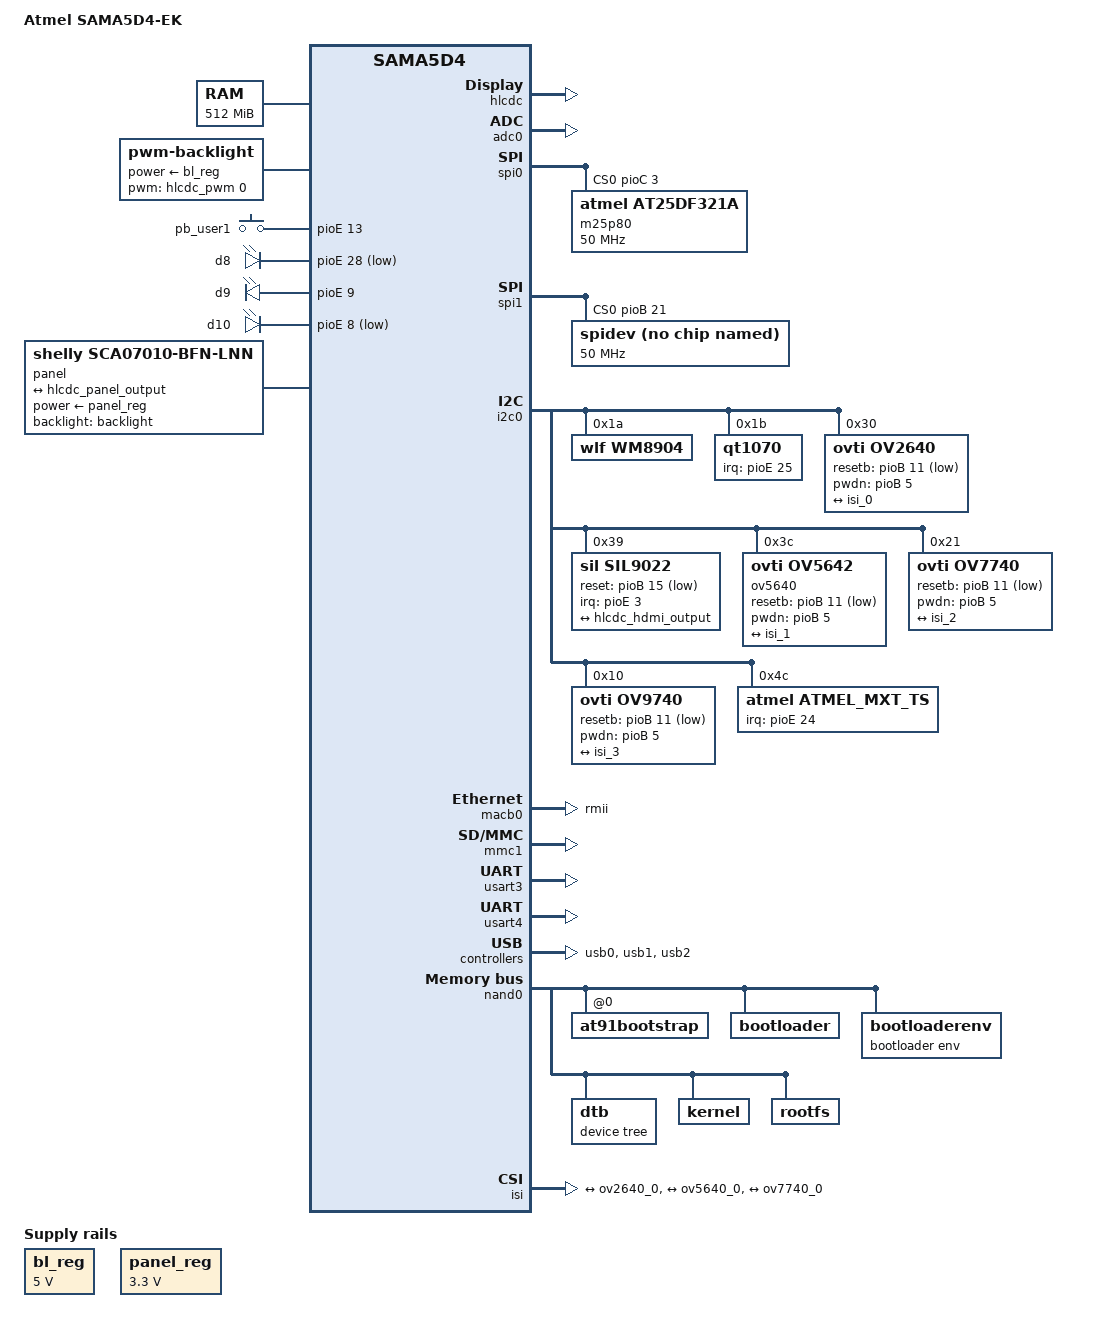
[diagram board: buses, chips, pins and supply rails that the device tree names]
/*
 * at91-sama5d4ek.dts - Device Tree file for SAMA5D4 Evaluation Kit
 *                      EK with PDA TM70xx 7" LCD + touchscreen display
 *
 *  Copyright (C) 2014 Atmel,
 *                2014 Nicolas Ferre <nicolas.ferre@atmel.com>
 *
 * This file is dual-licensed: you can use it either under the terms
 * of the GPL or the X11 license, at your option. Note that this dual
 * licensing only applies to this file, and not this project as a
 * whole.
 *
 *  a) This file is free software; you can redistribute it and/or
 *     modify it under the terms of the GNU General Public License as
 *     published by the Free Software Foundation; either version 2 of the
 *     License, or (at your option) any later version.
 *
 *     This file is distributed in the hope that it will be useful,
 *     but WITHOUT ANY WARRANTY; without even the implied warranty of
 *     MERCHANTABILITY or FITNESS FOR A PARTICULAR PURPOSE.  See the
 *     GNU General Public License for more details.
 *
 * Or, alternatively,
 *
 *  b) Permission is hereby granted, free of charge, to any person
 *     obtaining a copy of this software and associated documentation
 *     files (the "Software"), to deal in the Software without
 *     restriction, including without limitation the rights to use,
 *     copy, modify, merge, publish, distribute, sublicense, and/or
 *     sell copies of the Software, and to permit persons to whom the
 *     Software is furnished to do so, subject to the following
 *     conditions:
 *
 *     The above copyright notice and this permission notice shall be
 *     included in all copies or substantial portions of the Software.
 *
 *     THE SOFTWARE IS PROVIDED "AS IS", WITHOUT WARRANTY OF ANY KIND,
 *     EXPRESS OR IMPLIED, INCLUDING BUT NOT LIMITED TO THE WARRANTIES
 *     OF MERCHANTABILITY, FITNESS FOR A PARTICULAR PURPOSE AND
 *     NONINFRINGEMENT. IN NO EVENT SHALL THE AUTHORS OR COPYRIGHT
 *     HOLDERS BE LIABLE FOR ANY CLAIM, DAMAGES OR OTHER LIABILITY,
 *     WHETHER IN AN ACTION OF CONTRACT, TORT OR OTHERWISE, ARISING
 *     FROM, OUT OF OR IN CONNECTION WITH THE SOFTWARE OR THE USE OR
 *     OTHER DEALINGS IN THE SOFTWARE.
 */
/dts-v1/;
#include "sama5d4.dtsi"

/ {
	model = "Atmel SAMA5D4-EK";
	compatible = "atmel,sama5d4ek", "atmel,sama5d4", "atmel,sama5";

	chosen {
		bootargs = "console=ttyS0,115200 ignore_loglevel earlyprintk";
	};

	memory {
		reg = <0x20000000 0x20000000>;
	};

	clocks {
		#address-cells = <1>;
		#size-cells = <1>;
		ranges;

		main_clock: clock@0 {
			compatible = "atmel,osc", "fixed-clock";
			clock-frequency = <12000000>;
		};

		slow_xtal {
			clock-frequency = <32768>;
		};

		main_xtal {
			clock-frequency = <12000000>;
		};
	};

	ahb {
		apb {
			hlcdc: hlcdc@f0000000 {
				status = "okay";

				hlcdc-display-controller {
					pinctrl-names = "default";
					pinctrl-0 = <&pinctrl_lcd_base &pinctrl_lcd_rgb666>;

					port@0 {
						hlcdc_panel_output: endpoint@0 {
							reg = <0>;
							remote-endpoint = <&panel_input>;
						};

						hlcdc_hdmi_output: endpoint@1 {
							reg = <1>;
							remote-endpoint = <&hdmi_input>;
						};
					};
				};
			};

			adc0: adc@fc034000 {
				/* The vref depends on JP22 of EK. If connect 1-2 then use 3.3V. connect 2-3 use 3.0V */
				atmel,adc-vref = <3300>;
				/*atmel,adc-ts-wires = <4>;*/	/* Set up ADC touch screen */
				status = "okay";		/* Enable ADC IIO support */
			};

			mmc0: mmc@f8000000 {
				pinctrl-names = "default";
				pinctrl-0 = <&pinctrl_mmc0_clk_cmd_dat0 &pinctrl_mmc0_dat1_3 &pinctrl_mmc0_cd>;
				slot@1 {
					reg = <1>;
					bus-width = <4>;
					cd-gpios = <&pioE 5 0>;
				};
			};

			ssc0: ssc@f8008000 {
				status = "okay";
			};

			spi0: spi@f8010000 {
				cs-gpios = <&pioC 3 0>, <0>, <0>, <0>;
				status = "okay";
				m25p80@0 {
					compatible = "atmel,at25df321a";
					spi-max-frequency = <50000000>;
					reg = <0>;
				};
			};
            
			spi1: spi@fc018000 {
				cs-gpios = <&pioB 21 0>, <0>, <0>, <0>;
				status = "okay";
				spidev@0 {
					compatible = "linux,spidev";
					spi-max-frequency = <50000000>;
					reg = <0>;
				};
			};
			
			i2c0: i2c@f8014000 {
				status = "okay";

				wm8904: codec@1a {
					compatible = "wlf,wm8904";
					reg = <0x1a>;
					clocks = <&pck2>;
					clock-names = "mclk";
				};

				qt1070:keyboard@1b {
					compatible = "qt1070";
					reg = <0x1b>;
					interrupt-parent = <&pioE>;
					interrupts = <25 0x0>;
					pinctrl-names = "default";
					pinctrl-0 = <&pinctrl_qt1070_irq>;
					wakeup-source;
				};

				ov2640: camera@0x30 {
					compatible = "ovti,ov2640";
					reg = <0x30>;
					pinctrl-names = "default";
					pinctrl-0 = <&pinctrl_pck1_as_isi_mck &pinctrl_sensor_power &pinctrl_sensor_reset>;
					resetb-gpios = <&pioB 11 GPIO_ACTIVE_LOW>;
					pwdn-gpios = <&pioB 5 GPIO_ACTIVE_HIGH>;
					clocks = <&pck1>;
					clock-names = "xvclk";
					assigned-clocks = <&pck1>;
					assigned-clock-rates = <25000000>;

					port {
						ov2640_0: endpoint {
							remote-endpoint = <&isi_0>;
							bus-width = <8>;
						};
					};
				};

				sil9022: hdmi-encoder@39 {
					compatible = "sil,sil9022";
					reg = <0x39>;
					reset-gpios = <&pioB 15 GPIO_ACTIVE_LOW>;
					interrupts-extended = <&pioE 3 IRQ_TYPE_LEVEL_LOW>;
					pinctrl-names = "default";
					pinctrl-0 = <&pinctrl_sil9022_irq>;

					port {
						#address-cells = <1>;
						#size-cells = <0>;

						hdmi_input: endpoint@0 {
							reg = <0>;
							remote-endpoint = <&hlcdc_hdmi_output>;
						};
					};
				};

				ov5640: camera@0x3c {
					compatible = "ovti,ov5642";
					reg = <0x3c>;
					pinctrl-names = "default";
					pinctrl-0 = <&pinctrl_pck1_as_isi_mck &pinctrl_sensor_power &pinctrl_sensor_reset>;
					resetb-gpios = <&pioB 11 GPIO_ACTIVE_LOW>;
					pwdn-gpios = <&pioB 5 GPIO_ACTIVE_HIGH>;
					clocks = <&pck1>;
					clock-names = "xvclk";
					assigned-clocks = <&pck1>;
					assigned-clock-rates = <25000000>;

					port {
						ov5640_0: endpoint {
							remote-endpoint = <&isi_1>;
							bus-width = <8>;
						};
					};
				};

				ov7740: camera@0x21 {
					compatible = "ovti,ov7740";
					reg = <0x21>;
					pinctrl-names = "default";
					pinctrl-0 = <&pinctrl_pck1_as_isi_mck &pinctrl_sensor_power &pinctrl_sensor_reset>;
					resetb-gpios = <&pioB 11 GPIO_ACTIVE_LOW>;
					pwdn-gpios = <&pioB 5 GPIO_ACTIVE_HIGH>;
					clocks = <&pck1>;
					clock-names = "xvclk";
					assigned-clocks = <&pck1>;
					assigned-clock-rates = <25000000>;

					port {
						ov7740_0: endpoint {
							remote-endpoint = <&isi_2>;
							bus-width = <8>;
						};
					};
				};

				ov9740: camera@0x10 {
					compatible = "ovti,ov9740";
					reg = <0x10>;
					pinctrl-names = "default";
					pinctrl-0 = <&pinctrl_pck1_as_isi_mck &pinctrl_sensor_power &pinctrl_sensor_reset>;
					resetb-gpios = <&pioB 11 GPIO_ACTIVE_LOW>;
					pwdn-gpios = <&pioB 5 GPIO_ACTIVE_HIGH>;
					clocks = <&pck1>;
					clock-names = "xvclk";
					assigned-clocks = <&pck1>;
					assigned-clock-rates = <25000000>;

					port {
						ov9740_0: endpoint {
							remote-endpoint = <&isi_3>;
							bus-width = <8>;
						};
					};
				};

				atmel_mxt_ts@4c {
					compatible = "atmel,atmel_mxt_ts";
					reg = <0x4c>;
					interrupt-parent = <&pioE>;
					interrupts = <24 0x0>;
					pinctrl-names = "default";
					pinctrl-0 = <&pinctrl_mxt_ts>;
				};
			};

			macb0: ethernet@f8020000 {
				phy-mode = "rmii";
				status = "okay";
			};

			mmc1: mmc@fc000000 {
				pinctrl-names = "default";
				pinctrl-0 = <&pinctrl_mmc1_clk_cmd_dat0 &pinctrl_mmc1_dat1_3 &pinctrl_mmc1_cd>;
				status = "okay";
				slot@0 {
					reg = <0>;
					bus-width = <4>;
					cd-gpios = <&pioE 6 0>;
				};
			};

			usart3: serial@fc00c000 {
				status = "okay";
			};

			usart4: serial@fc010000 {
				status = "okay";
			};

			watchdog@fc068640 {
				status = "okay";
			};

			pinctrl@fc06a000 {
				board {
					pinctrl_mmc0_cd: mmc0_cd {
						atmel,pins =
							<AT91_PIOE 5 AT91_PERIPH_GPIO AT91_PINCTRL_PULL_UP_DEGLITCH>;
					};
					pinctrl_mmc1_cd: mmc1_cd {
						atmel,pins =
							<AT91_PIOE 6 AT91_PERIPH_GPIO AT91_PINCTRL_PULL_UP_DEGLITCH>;
					};
					pinctrl_mxt_ts: mxt_irq {
						atmel,pins =
							<AT91_PIOE 24 AT91_PERIPH_GPIO AT91_PINCTRL_PULL_UP_DEGLITCH>;
					};
					pinctrl_usba_vbus: usba_vbus {
						atmel,pins =
							<AT91_PIOE 31 AT91_PERIPH_GPIO AT91_PINCTRL_DEGLITCH>;
					};
					pinctrl_key_gpio: key_gpio_0 {
						atmel,pins =
							<AT91_PIOE 13 AT91_PERIPH_GPIO AT91_PINCTRL_PULL_UP_DEGLITCH>; /* PE13 gpio */
					};
					pinctrl_pck2_as_audio_mck: pck2_as_audio_mck {
						atmel,pins =
							<AT91_PIOB 10 AT91_PERIPH_B AT91_PINCTRL_NONE>;
					};
					pinctrl_pck1_as_isi_mck: pck1_as_isi_mck-0 {
						atmel,pins =
							<AT91_PIOC 4 AT91_PERIPH_C AT91_PINCTRL_NONE>;	/* PC4 periph C PCK1, conflicted with SPI0_NPCS1, MCI0_CK */
					};
					pinctrl_qt1070_irq: qt1070_irq {
						atmel,pins =
							<AT91_PIOE 25 AT91_PERIPH_GPIO AT91_PINCTRL_PULL_UP_DEGLITCH>;
					};
					pinctrl_sensor_reset: sensor_reset-0 {
						atmel,pins =
							<AT91_PIOB 11 AT91_PERIPH_GPIO AT91_PINCTRL_NONE>;   /* PB11 gpio */
					};
					pinctrl_sensor_power: sensor_power-0 {
						atmel,pins =
							<AT91_PIOB 5 AT91_PERIPH_GPIO AT91_PINCTRL_NONE>; /* PB5 gpio */
					};
					pinctrl_sil9022_irq: sil9022_irq-0 {
						atmel,pins =
							<AT91_PIOE 3 AT91_PERIPH_GPIO AT91_PINCTRL_PULL_UP_DEGLITCH>;
					};
				};
			};
		};

		vdec0: vdec@00300000 {
			status = "okay";
		};

		usb0: gadget@00400000 {
			atmel,vbus-gpio = <&pioE 31 GPIO_ACTIVE_HIGH>;
			pinctrl-names = "default";
			pinctrl-0 = <&pinctrl_usba_vbus>;
			status = "okay";
		};

		usb1: ohci@00500000 {
			num-ports = <3>;
			atmel,vbus-gpio = <0 /* &pioE 10 GPIO_ACTIVE_LOW */
					   &pioE 11 GPIO_ACTIVE_LOW
					   &pioE 12 GPIO_ACTIVE_LOW
					  >;
			status = "okay";
		};

		usb2: ehci@00600000 {
			status = "okay";
		};

		nand0: nand@80000000 {
			nand-bus-width = <8>;
			nand-ecc-mode = "hw";
			nand-on-flash-bbt;
			atmel,has-pmecc;
			status = "okay";

			at91bootstrap@0 {
				label = "at91bootstrap";
				reg = <0x0 0x40000>;
			};

			bootloader@40000 {
				label = "bootloader";
				reg = <0x40000 0x80000>;
			};

			bootloaderenv@c0000 {
				label = "bootloader env";
				reg = <0xc0000 0xc0000>;
			};

			dtb@180000 {
				label = "device tree";
				reg = <0x180000 0x80000>;
			};

			kernel@200000 {
				label = "kernel";
				reg = <0x200000 0x600000>;
			};

			rootfs@800000 {
				label = "rootfs";
				reg = <0x800000 0x0f800000>;
			};
		};

		isi: isi@f0008000 {
			status = "okay";
			port {
				isi_0: endpoint@0 {
					remote-endpoint = <&ov2640_0>;
					bus-width = <8>;
				};

				isi_1: endpoint@1 {
					remote-endpoint = <&ov5640_0>;
					bus-width = <8>;
				};

				isi_2: endpoint@2 {
					remote-endpoint = <&ov7740_0>;
					bus-width = <8>;
				};

				isi_3: endpoint@3 {
					remote-endpoint = <&ov9740_0>;
					bus-width = <8>;
				};
			};
		};
	};

	backlight: backlight {
		compatible = "pwm-backlight";
		pwms = <&hlcdc_pwm 0 50000 0>;
		brightness-levels = <0 4 8 16 32 64 128 255>;
		default-brightness-level = <6>;
		power-supply = <&bl_reg>;
		status = "okay";
	};

	bl_reg: backlight_regulator {
		compatible = "regulator-fixed";
		regulator-name = "backlight-power-supply";
		regulator-min-microvolt = <5000000>;
		regulator-max-microvolt = <5000000>;
		status = "okay";
	};

	gpio_keys {
		compatible = "gpio-keys";
		#address-cells = <1>;
		#size-cells = <0>;

		pinctrl-names = "default";
		pinctrl-0 = <&pinctrl_key_gpio>;

		pb_user1 {
			label = "pb_user1";
			gpios = <&pioE 13 GPIO_ACTIVE_HIGH>;
			linux,code = <0x100>;
			gpio-key,wakeup;
		};
	};

	leds {
		compatible = "gpio-leds";
		status = "okay";

		d8 {
			label = "d8";
			/* PE28, conflicts with usart4 rts pin */
			gpios = <&pioE 28 GPIO_ACTIVE_LOW>;
		};

		d9 {
			label = "d9";
			gpios = <&pioE 9 GPIO_ACTIVE_HIGH>;
		};

		d10 {
			label = "d10";
			gpios = <&pioE 8 GPIO_ACTIVE_LOW>;
			linux,default-trigger = "heartbeat";
		};
	};

	panel: panel {
		compatible = "shelly,sca07010-bfn-lnn", "simple-panel";
		backlight = <&backlight>;
		power-supply = <&panel_reg>;
		#address-cells = <1>;
		#size-cells = <0>;
		status = "okay";

		port@0 {
			reg = <0>;
			#address-cells = <1>;
			#size-cells = <0>;

			panel_input: endpoint@0 {
				reg = <0>;
				remote-endpoint = <&hlcdc_panel_output>;
			};
		};
	};

	panel_reg: panel_regulator {
		compatible = "regulator-fixed";
		regulator-name = "panel-power-supply";
		regulator-min-microvolt = <3300000>;
		regulator-max-microvolt = <3300000>;
		status = "okay";
	};

	sound {
		compatible = "atmel,asoc-wm8904";
		pinctrl-names = "default";
		pinctrl-0 = <&pinctrl_pck2_as_audio_mck>;

		atmel,model = "wm8904 @ SAMA5D4EK";
		atmel,audio-routing =
			"Headphone Jack", "HPOUTL",
			"Headphone Jack", "HPOUTR",
			"IN1L", "Line In Jack",
			"IN1R", "Line In Jack";

		atmel,ssc-controller = <&ssc0>;
		atmel,audio-codec = <&wm8904>;
	};
};
